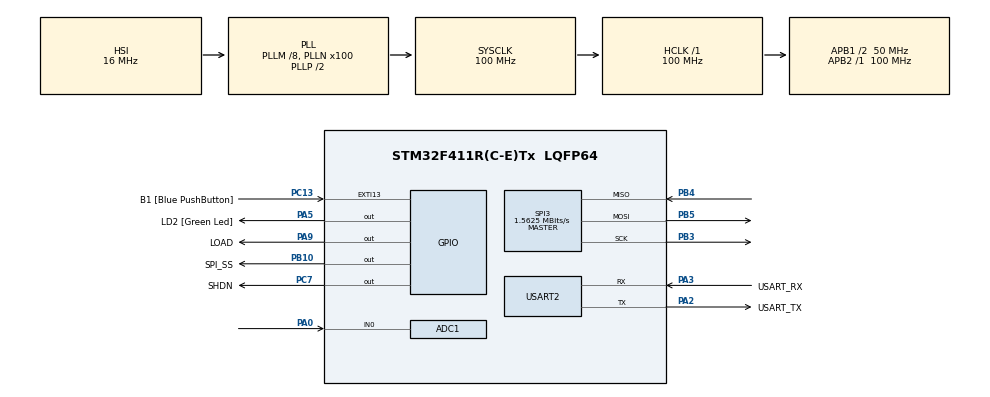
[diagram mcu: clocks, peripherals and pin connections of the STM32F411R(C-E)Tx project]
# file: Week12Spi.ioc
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Mcu.Family=STM32F4
PB10.PinState=GPIO_PIN_SET
RCC.CortexFreq_Value=100000000
SPI3.Direction=SPI_DIRECTION_2LINES
SPI3.VirtualType=VM_MASTER
ADC1.ContinuousConvMode=DISABLE
PA14.GPIO_Label=TCK
RCC.SYSCLKSource=RCC_SYSCLKSOURCE_PLLCLK
ProjectManager.StackSize=0x400
NVIC.ADC_IRQn=true\:0\:0\:false\:false\:true\:true\:true
PH0\ -\ OSC_IN.Signal=RCC_OSC_IN
RCC.HCLKFreq_Value=100000000
RCC.APB2TimFreq_Value=100000000
TIM3.Period=100
Dma.ADC1.0.Direction=DMA_PERIPH_TO_MEMORY
PC7.Signal=GPIO_Output
NVIC.DMA2_Stream0_IRQn=true\:0\:0\:false\:false\:true\:false\:true
Dma.ADC1.0.MemDataAlignment=DMA_MDATAALIGN_HALFWORD
RCC.AHBFreq_Value=100000000
SPI3.DataSize=SPI_DATASIZE_16BIT
ADC1.Channel-0\#ChannelRegularConversion=ADC_CHANNEL_0
NVIC.TIM1_TRG_COM_TIM11_IRQn=true\:0\:0\:false\:false\:true\:true\:true
RCC.HSE_VALUE=8000000
PB3.Mode=Full_Duplex_Master
ADC1.ScanConvMode=ENABLE
PC13-ANTI_TAMP.Signal=GPXTI13
PB4.Mode=Full_Duplex_Master
PC14-OSC32_IN.Mode=LSE-External-Oscillator
PA14.Mode=Serial_Wire
TIM3.Prescaler=99
Dma.ADC1.0.PeriphInc=DMA_PINC_DISABLE
PB5.Mode=Full_Duplex_Master
PC7.PinState=GPIO_PIN_SET
SH.ADCx_IN0.0=ADC1_IN0,IN0
ADC1.SamplingTime-0\#ChannelRegularConversion=ADC_SAMPLETIME_3CYCLES
RCC.FLatency-AdvancedSettings=FLASH_LATENCY_3
Mcu.Package=LQFP64
SPI3.Mode=SPI_MODE_MASTER
USART2.VirtualMode=VM_ASYNC
PA2.GPIO_Label=USART_TX
NVIC.SPI3_IRQn=true\:0\:0\:false\:false\:true\:true\:true
RCC.APB1TimFreq_Value=100000000
Dma.ADC1.0.FIFOMode=DMA_FIFOMODE_DISABLE
Dma.Request0=ADC1
ADC1.EOCSelection=ADC_EOC_SEQ_CONV
VP_TIM3_VS_ClockSourceINT.Mode=Internal
PB4.Signal=SPI3_MISO
PA3.Signal=USART2_RX
PC15-OSC32_OUT.Mode=LSE-External-Oscillator
Dma.ADC1.0.Instance=DMA2_Stream0
ADC1.Rank-0\#ChannelRegularConversion=1
PC13-ANTI_TAMP.GPIO_Label=B1 [Blue PushButton]
PA9.GPIO_Label=LOAD
PH1\ -\ OSC_OUT.Mode=HSE-External-Clock-Source
ADC1.DiscontinuousConvMode=DISABLE
TIM11.Prescaler=99
RCC.APB1CLKDivider=RCC_HCLK_DIV2
PC14-OSC32_IN.Signal=RCC_OSC32_IN
NVIC.USART2_IRQn=true\:0\:0\:false\:false\:true\:true\:true
PA0-WKUP.Signal=ADCx_IN0
VP_TIM11_VS_ClockSourceINT.Mode=Enable_Timer
PA13.Signal=SYS_JTMS-SWDIO
PA3.Mode=Asynchronous
Dma.ADC1.0.PeriphDataAlignment=DMA_PDATAALIGN_HALFWORD
PH0\ -\ OSC_IN.Mode=HSE-External-Clock-Source
ProjectManager.TargetToolchain=STM32CubeIDE
PB10.GPIO_Label=SPI_SS
Dma.ADC1.0.Mode=DMA_CIRCULAR
Dma.ADC1.0.Priority=DMA_PRIORITY_LOW
PA9.Signal=GPIO_Output
PA9.PinState=GPIO_PIN_SET
PC15-OSC32_OUT.Signal=RCC_OSC32_OUT
PB10.Signal=GPIO_Output
PA5.Signal=GPIO_Output
PH1\ -\ OSC_OUT.Signal=RCC_OSC_OUT
board=NUCLEO-F411RE
RCC.VCOOutputFreq_Value=200000000
RCC.APB2Freq_Value=100000000
SPI3.CalculateBaudRate=1.5625 MBits/s
SPI3.BaudRatePrescaler=SPI_BAUDRATEPRESCALER_32
ADC1.DMAContinuousRequests=ENABLE
PA13.Mode=Serial_Wire
Mcu.Name=STM32F411R(C-E)Tx
PA2.Signal=USART2_TX
PA13.GPIO_Label=TMS
ADC1.ExternalTrigConv=ADC_EXTERNALTRIGCONV_T3_TRGO
PC7.GPIO_Label=SHDN
RCC.48MHZClocksFreq_Value=50000000
PB3.Signal=SPI3_SCK
RCC.SYSCLKFreq_VALUE=100000000
PB5.Signal=SPI3_MOSI
ADC1.master=1
PA5.GPIO_Label=LD2 [Green Led]
PC13-ANTI_TAMP.GPIO_ModeDefaultEXTI=GPIO_MODE_IT_FALLING
PA14.Signal=SYS_JTCK-SWCLK
Dma.ADC1.0.MemInc=DMA_MINC_ENABLE
ProjectManager.HeapSize=0x200
RCC.HSI_VALUE=16000000
NVIC.PriorityGroup=NVIC_PRIORITYGROUP_0
ADC1.NbrOfConversionFlag=1
RCC.PLLM=8
RCC.PLLN=100
PA2.Mode=Asynchronous
TIM3.TIM_MasterOutputTrigger=TIM_TRGO_UPDATE
RCC.APB1Freq_Value=50000000
PA3.GPIO_Label=USART_RX

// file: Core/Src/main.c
/* USER CODE BEGIN Header */
/**
 ******************************************************************************
 * @file           : main.c
 * @brief          : Main program body
 ******************************************************************************
 * @attention
 *
 * <h2><center>&copy; Copyright (c) 2021 STMicroelectronics.
 * All rights reserved.</center></h2>
 *
 * This software component is licensed by ST under BSD 3-Clause license,
 * the "License"; You may not use this file except in compliance with the
 * License. You may obtain a copy of the License at:
 *                        opensource.org/licenses/BSD-3-Clause
 *
 ******************************************************************************
 */
/* USER CODE END Header */
#include "main.h"

/* USER CODE BEGIN Includes */
#include "math.h"
#include <stdio.h>
#include <string.h>
/* USER CODE END Includes */

ADC_HandleTypeDef hadc1;
DMA_HandleTypeDef hdma_adc1;

SPI_HandleTypeDef hspi3;

TIM_HandleTypeDef htim3;
TIM_HandleTypeDef htim11;

UART_HandleTypeDef huart2;

/* USER CODE BEGIN PV */
char TxDataBuffer[32] =
{ 0 };
char RxDataBuffer[32] =
{ 0 };
char now_freq[32] =
{ 0 };
char now_vhigh[32] =
{ 0 };
char now_vlow[32] =
{ 0 };
char now_Duty[32] =
{ 0 };
uint16_t ADCin = 0;
uint16_t V_ADC_high = 0;
uint16_t V_ADC_low = 0;
int16_t A=0;
float time=0;
uint64_t _micro = 0;
int mode =0; //set sawtooth as default
// 12 bits dac
uint16_t dataOut = 0;
//float volt;
//upper 4 bits of dac
uint8_t DACConfig = 0b0011;
float freq =1.0;
float v_high =3.3;
float v_low =0.0;
float T=0; //Period
float angle=0.0;
int Duty_Cycle =50;

int is_saw_reverse =0;
/* USER CODE END PV */

void SystemClock_Config(void);
static void MX_GPIO_Init(void);
static void MX_DMA_Init(void);
static void MX_USART2_UART_Init(void);
static void MX_SPI3_Init(void);
static void MX_ADC1_Init(void);
static void MX_TIM3_Init(void);
static void MX_TIM11_Init(void);
/* USER CODE BEGIN PFP */
void MCP4922SetOutput(uint8_t Config, uint16_t DACOutput);
uint64_t micros();
void UARTRecieveAndResponsePolling();
int16_t UARTRecieveIT();
enum _StateDisplay
{
  StateDisplay_Start = 0,
  StateDisplay_MenuRoot_Print =10,
  StateDisplay_MenuRoot_WaitInput,
  StateDisplay_Saw_Print =20,
  StateDisplay_Saw_WaitInput,
  StateDisplay_Sine_Print =30,
  StateDisplay_Sine_WaitInput,
  StateDisplay_Square_Print =40,
  StateDisplay_Square_WaitInput

};
uint8_t STATE_Display = 0;

int count =1;
uint8_t Is_LED_on =1;
int LED_TOGGLE_DELAY =500;
int is_press =0;
float Duty_On =0.0;
/* USER CODE END PFP */

int main(void)
{

  /* MCU Configuration--------------------------------------------------------*/

  /* Reset of all peripherals, Initializes the Flash interface and the Systick. */
  HAL_Init();

  /* Configure the system clock */
  SystemClock_Config();

  /* Initialize all configured peripherals */
  MX_GPIO_Init();
  MX_DMA_Init();
  MX_USART2_UART_Init();
  MX_SPI3_Init();
  MX_ADC1_Init();
  MX_TIM3_Init();
  MX_TIM11_Init();
  /* USER CODE BEGIN 2 */
	HAL_TIM_Base_Start(&htim3);
	HAL_TIM_Base_Start_IT(&htim11);
	HAL_ADC_Start_DMA(&hadc1, (uint32_t*) &ADCin, 1); // read ADC in

	HAL_GPIO_WritePin(LOAD_GPIO_Port, LOAD_Pin, GPIO_PIN_RESET);//set low ไว้
	  {
	  char temp[]="HELLO WORLD\r\n please type something to test UART\r\n";
	  HAL_UART_Transmit(&huart2, (uint8_t*)temp, strlen(temp),10);
	  }
  /* USER CODE END 2 */

  /* Infinite loop */
  /* USER CODE BEGIN WHILE */
	while (1)
	{

		static uint64_t timestamp = 0;
		if (micros() - timestamp > 10000) //10khz = 100 Microsec
		{
			timestamp = micros();
			V_ADC_high = v_high *4096/3.3;
			V_ADC_low = v_low *4096/3.3;
			A = V_ADC_high - V_ADC_low;
			if(mode==0)
			{
				//V_ADC_high = v_high *4096/3.3;
				//V_ADC_low = v_low *4096/3.3;
				time += 0.01;
				T = 1/freq;
				//A = V_ADC_high - V_ADC_low;
				if(is_saw_reverse ==0)
				{
					//dataOut++; //input get into black DAC
					if (time < T)
					{
//						A = V_ADC_high - V_ADC_low;
						dataOut = ((A)/T)*time+V_ADC_low;
					}
					else
					{
						time =0;
					}
				}
				//dataOut++; //input get in black DAC
				else if(is_saw_reverse ==1)
				{
					//dataOut--; //input get into black DAC
					if (time <= T)
					{
						dataOut = ((-A)/T)*time+V_ADC_high;
					}
					else
					{
						time =0;
					}
				}
				//dataOut %= 4096; //sawtooth
			}
			else if(mode==1)
			{
				angle +=0.01;//radian
				dataOut =((A/2)* sin(2.0*M_PI*freq*angle))+((V_ADC_high+V_ADC_low)/2);
			}
			else if(mode==2)
			{
				time += 0.01;
				T = 1/freq;
				Duty_On = T*Duty_Cycle/100;
				if(time <= Duty_On)
				{
					dataOut = V_ADC_high;
				}
				else if(time > Duty_On && time <= T)
				{
					dataOut = V_ADC_low;
				}
				else
				{
					time = 0.0;
				}
			}

			if (hspi3.State == HAL_SPI_STATE_READY // if not send data
					&& HAL_GPIO_ReadPin(SPI_SS_GPIO_Port, SPI_SS_Pin)
							== GPIO_PIN_SET)
			{
				MCP4922SetOutput(DACConfig, dataOut);//dataOut to digital
				// analog get in nucleo to adc
			}
			//volt = (ADCin/4095.0) *3.3;// sawtooth
		}
		/*Method 2 Interrupt Mode*/
		HAL_UART_Receive_IT(&huart2,  (uint8_t*)RxDataBuffer, 32);

		/*Method 2 W/ 1 Char Received*/
		int16_t inputchar = UARTRecieveIT();
		if(inputchar!=-1)
		{

			sprintf(TxDataBuffer, "ReceivedChar:[%c]\r\n", inputchar);
			HAL_UART_Transmit(&huart2, (uint8_t*)TxDataBuffer, strlen(TxDataBuffer), 1000);

		}
		switch (STATE_Display)
		{
			case StateDisplay_Start:
				STATE_Display = StateDisplay_MenuRoot_Print;
				break;
			case StateDisplay_MenuRoot_Print: //display one time state
				yemp();
				STATE_Display = StateDisplay_MenuRoot_WaitInput;
				break;
			case StateDisplay_MenuRoot_WaitInput: //wait state for input
				switch (inputchar)
				{
			      case 0:
			        //no input ; just wait input
			        break;
			      case -1:
			        //no input ; just wait input
			        break;
			      case '0':
			        STATE_Display = StateDisplay_Saw_Print; // sawtooth
			        break;
			      case '1':
			        STATE_Display = StateDisplay_Sine_Print; //sine wave
			        break;
			      case '2':
			        STATE_Display = StateDisplay_Square_Print; //square wave
			        break;
			      default: // actually error , you can add error message
			        wng_press();
			        STATE_Display = StateDisplay_MenuRoot_Print;
			        break;
				}
				break;
			case StateDisplay_Saw_Print: //display one time state //saw
				mode =0;
				sawt_msg();
				STATE_Display = StateDisplay_Saw_WaitInput;
				break;
			case StateDisplay_Sine_Print: //display state
				mode=1;
				sinet_msg();
			    STATE_Display = StateDisplay_Sine_WaitInput;
			    break;

			case StateDisplay_Sine_WaitInput: //make decision state
			    switch (inputchar)
			    {
			    	case 0:
			    		//no input ; just wait input
			    		break;
			    	case -1:
			    		//no input ; just wait input
			    	    break;
				    case '+': //+0.1Hz
				    	if(freq < 10)
				    	{
				    		freq +=0.1;
				    	}
				    	else
				    	{
				    		limit_msg();
				    	}
				    	freq_msg();
				    	STATE_Display = StateDisplay_Sine_Print;
				    	break;
				      case '-': // -0.1Hz
				    	  if(freq > 0.1)
				    	  {
				    		  freq -=0.1;
				    	  }
				    	  else
				    	  {
				    		  freq =0;
				    		  limit_msg();
				    	  }
				    	  freq_msg();
				    	  STATE_Display = StateDisplay_Sine_Print;
				    	  break;
				      case 'h': //v high+0.1V
				    	  if(v_high+0.02 < 3.3)
				      	  {
				    		  v_high +=0.1;
				      	  }
				    	  else
				    	  {
				    		  limit_msg();
				    	  }
				    	  vhigh_msg();
				      	  STATE_Display = StateDisplay_Sine_Print;
				      	  break;
				      case 'j': //v high -0.1V
				    	  if(v_high-0.02 > v_low)
				    	  {
				    		  v_high -=0.1;
				      	  }
				      	  else
				      	  {
				      		v_high =v_low;
				      		limit_msg();
				      	  }
				    	  vhigh_msg();
				      	  STATE_Display = StateDisplay_Sine_Print;
				      	  break;
				      case 'k': //v low +0.1V
				    	  if(v_high-0.02 > v_low)
				      	  {
				    		  v_low +=0.1;
				      	  }
				    	  else
				    	  {
				    		  limit_msg();
				    	  }
				    	  vlow_msg();
				      	  STATE_Display = StateDisplay_Sine_Print;
				      	  break;
				      case 'l': //v low -0.1V
				    	  if(v_low+0.02 >=0.1)
				    	  {
				    		  v_low -=0.1;
				      	  }
				      	  else
				      	  {
				      		v_low =0.0;
				      		limit_msg();
				      	  }
				    	  vlow_msg();
				      	  STATE_Display = StateDisplay_Sine_Print;
				      	  break;
			    	case 'x': //
			    		STATE_Display = StateDisplay_MenuRoot_Print;
			    		break;
			    	default: // actually error , you can add error message
			    	    wng_press();
			    	    STATE_Display = StateDisplay_Sine_Print;
			    	    break;
			    }
			    break;
			case StateDisplay_Square_Print: //display state
			    mode=2;
			    square_msg();
			    STATE_Display = StateDisplay_Square_WaitInput;
			    break;
			case StateDisplay_Square_WaitInput: //make decision state
			    switch (inputchar)
			    {
			     	case 0:
			     		//no input ; just wait input
			     		break;
			    	case -1:
			    		//no input ; just wait input
			    		break;
			    	case '8': // forward
			    		if(Duty_Cycle+1 <100)
			    		{
			    			Duty_Cycle +=10;
			    		}
			    		else
			    		{
			    			limit_msg();
			    		}
			    		dutyc_msg();
			    		STATE_Display = StateDisplay_Square_Print;
			    		break;
			    	case '2': // backward
			    		if(Duty_Cycle-1 >0)
			    		{
			    			Duty_Cycle -=10;
			    		}
			    		else
			    		{
			    			limit_msg();
			    		}
			    		dutyc_msg();
			    		STATE_Display = StateDisplay_Square_Print;
			    		break;
			    	case '+': //+0.1Hz
			    		if(freq < 10)
			    		{
			    			freq +=0.1;
			    		}
			    		 else
			    		{
			    			 limit_msg();
			    		}
			    		freq_msg();
			    		STATE_Display = StateDisplay_Square_Print;
			    		break;
			    	case '-': // -0.1Hz
			    		if(freq > 0.1)
			    		{
			    			freq -=0.1;
			    		}
			    		else
			    		{
			    			freq =0;
			    			limit_msg();
			    		}
			    		freq_msg();
			    		STATE_Display = StateDisplay_Square_Print;
			    		break;
			    	case 'h': //v high+0.1V
			    		if(v_high+0.02 < 3.3)
			    		{
			    			v_high +=0.1;
			    		}
			    		else
			    		{
			    			limit_msg();
			    		}
			    		vhigh_msg();
			    		STATE_Display = StateDisplay_Square_Print;
			    		break;
			    	case 'j': //v high -0.1V
			    		if(v_high-0.02 > v_low)
			    		{
			    			v_high -=0.1;
			    		}
			    		else
			    		{
			    			v_high =v_low;
			    			limit_msg();
			    		}
			    		vhigh_msg();
			    		STATE_Display = StateDisplay_Square_Print;
			    		break;
			    	case 'k': //v low +0.1V
			    		if(v_high-0.02 > v_low)
			    		{
			    			v_low +=0.1;
			    		}
			    		else
			    		{
			    			limit_msg();
			    		}
			    		vlow_msg();
			    		STATE_Display = StateDisplay_Square_Print;
			    		break;
			    	case 'l': //v low -0.1V
			    		if(v_low+0.02 >=0.1)
			    		{
			    			v_low -=0.1;
			    		}
			    		else
			    		{
			    			v_low =0.0;
			    			limit_msg();
			    		}
			    		vlow_msg();
			    		STATE_Display = StateDisplay_Square_Print;
			    		break;
			    	case 'x': //
			    		STATE_Display = StateDisplay_MenuRoot_Print;
			    		break;
			    	default: // actually error , you can add error message
			    		wng_press();
			    		STATE_Display = StateDisplay_Square_Print;
			    		break;
			    }
			    break;
			case StateDisplay_Saw_WaitInput: //sawtooth
			      switch (inputchar)
			      {
			      case 0:
			        //no input ; just wait input
			        break;
			      case -1:
			    	  //no input ; just wait input
			    	  break;
			      case '+': //+0.1Hz
			    	  if(freq < 10)
			    	  {
			    		  freq +=0.1;
			    	  }
			    	  else
			    	  {
			    		  limit_msg();
			    	  }
			    	  freq_msg();
			    	  STATE_Display = StateDisplay_Saw_Print;
			    	  break;
			      case '-': // -0.1Hz
			    	  if(freq > 0.1)
			    	  {
			    		  freq -=0.1;
			    	  }
			    	  else
			    	  {
			    		  freq =0;
			    		  limit_msg();
			    	  }
			    	  freq_msg();
			    	  STATE_Display = StateDisplay_Saw_Print;
			    	  break;
			      case 'h': //v high+0.1V
			    	  if(v_high+0.02 < 3.3)
			      	  {
			    		  v_high +=0.1;
			      	  }
			    	  else
			    	  {
			    		  limit_msg();
			    	  }
			    	  vhigh_msg();
			      	  STATE_Display = StateDisplay_Saw_Print;
			      	  break;
			      case 'j': //v high -0.1V
			    	  if(v_high-0.02 > v_low)
			    	  {
			    		  v_high -=0.1;
			      	  }
			      	  else
			      	  {
			      		v_high =v_low;
			      		  limit_msg();
			      	  }
			    	  vhigh_msg();
			      	  STATE_Display = StateDisplay_Saw_Print;
			      	  break;
			      case 'k': //v low +0.1V
			    	  if(v_high-0.02 > v_low)
			      	  {
			    		  v_low +=0.1;
			      	  }
			    	  else
			    	  {
			    		  limit_msg();
			    	  }
			    	  vlow_msg();
			      	  STATE_Display = StateDisplay_Saw_Print;
			      	  break;
			      case 'l': //v low -0.1V
			    	  if(v_low+0.02 >=0.1)
			    	  {
			    		  v_low -=0.1;
			      	  }
			      	  else
			      	  {
			      		v_low =0.0;
			      		limit_msg();
			      	  }
			    	  vlow_msg();
			      	  STATE_Display = StateDisplay_Saw_Print;
			      	  break;
			      case '8': // forward
			    	  is_saw_reverse =0;
			    	  STATE_Display = StateDisplay_Saw_Print;
			    	  break;
			      case '2': // backward
			    	  is_saw_reverse =1;
			      	  STATE_Display = StateDisplay_Saw_Print;
			      	  break;
			      case 'x': //
			    	  STATE_Display = StateDisplay_MenuRoot_Print;
			    	  break;

			      default: // actully error , you can add error message
			    	  wng_press();
			    	  STATE_Display = StateDisplay_Saw_Print;
			    	  break;
			      }
			      break;
		}

    /* USER CODE END WHILE */

	}
}

void SystemClock_Config(void)
{
  RCC_OscInitTypeDef RCC_OscInitStruct = {0};
  RCC_ClkInitTypeDef RCC_ClkInitStruct = {0};

  /** Configure the main internal regulator output voltage
  */
  __HAL_RCC_PWR_CLK_ENABLE();
  __HAL_PWR_VOLTAGESCALING_CONFIG(PWR_REGULATOR_VOLTAGE_SCALE1);
  /** Initializes the RCC Oscillators according to the specified parameters
  * in the RCC_OscInitTypeDef structure.
  */
  RCC_OscInitStruct.OscillatorType = RCC_OSCILLATORTYPE_HSI;
  RCC_OscInitStruct.HSIState = RCC_HSI_ON;
  RCC_OscInitStruct.HSICalibrationValue = RCC_HSICALIBRATION_DEFAULT;
  RCC_OscInitStruct.PLL.PLLState = RCC_PLL_ON;
  RCC_OscInitStruct.PLL.PLLSource = RCC_PLLSOURCE_HSI;
  RCC_OscInitStruct.PLL.PLLM = 8;
  RCC_OscInitStruct.PLL.PLLN = 100;
  RCC_OscInitStruct.PLL.PLLP = RCC_PLLP_DIV2;
  RCC_OscInitStruct.PLL.PLLQ = 4;
  if (HAL_RCC_OscConfig(&RCC_OscInitStruct) != HAL_OK)
  {
    Error_Handler();
  }
  /** Initializes the CPU, AHB and APB buses clocks
  */
  RCC_ClkInitStruct.ClockType = RCC_CLOCKTYPE_HCLK|RCC_CLOCKTYPE_SYSCLK
                              |RCC_CLOCKTYPE_PCLK1|RCC_CLOCKTYPE_PCLK2;
  RCC_ClkInitStruct.SYSCLKSource = RCC_SYSCLKSOURCE_PLLCLK;
  RCC_ClkInitStruct.AHBCLKDivider = RCC_SYSCLK_DIV1;
  RCC_ClkInitStruct.APB1CLKDivider = RCC_HCLK_DIV2;
  RCC_ClkInitStruct.APB2CLKDivider = RCC_HCLK_DIV1;

  if (HAL_RCC_ClockConfig(&RCC_ClkInitStruct, FLASH_LATENCY_3) != HAL_OK)
  {
    Error_Handler();
  }
}

static void MX_ADC1_Init(void)
{

  ADC_ChannelConfTypeDef sConfig = {0};

  /** Configure the global features of the ADC (Clock, Resolution, Data Alignment and number of conversion)
  */
  hadc1.Instance = ADC1;
  hadc1.Init.ClockPrescaler = ADC_CLOCK_SYNC_PCLK_DIV4;
  hadc1.Init.Resolution = ADC_RESOLUTION_12B;
  hadc1.Init.ScanConvMode = ENABLE;
  hadc1.Init.ContinuousConvMode = DISABLE;
  hadc1.Init.DiscontinuousConvMode = DISABLE;
  hadc1.Init.ExternalTrigConvEdge = ADC_EXTERNALTRIGCONVEDGE_RISING;
  hadc1.Init.ExternalTrigConv = ADC_EXTERNALTRIGCONV_T3_TRGO;
  hadc1.Init.DataAlign = ADC_DATAALIGN_RIGHT;
  hadc1.Init.NbrOfConversion = 1;
  hadc1.Init.DMAContinuousRequests = ENABLE;
  hadc1.Init.EOCSelection = ADC_EOC_SEQ_CONV;
  if (HAL_ADC_Init(&hadc1) != HAL_OK)
  {
    Error_Handler();
  }
  /** Configure for the selected ADC regular channel its corresponding rank in the sequencer and its sample time.
  */
  sConfig.Channel = ADC_CHANNEL_0;
  sConfig.Rank = 1;
  sConfig.SamplingTime = ADC_SAMPLETIME_3CYCLES;
  if (HAL_ADC_ConfigChannel(&hadc1, &sConfig) != HAL_OK)
  {
    Error_Handler();
  }

}

static void MX_SPI3_Init(void)
{

  /* SPI3 parameter configuration*/
  hspi3.Instance = SPI3;
  hspi3.Init.Mode = SPI_MODE_MASTER;
  hspi3.Init.Direction = SPI_DIRECTION_2LINES;
  hspi3.Init.DataSize = SPI_DATASIZE_16BIT;
  hspi3.Init.CLKPolarity = SPI_POLARITY_LOW;
  hspi3.Init.CLKPhase = SPI_PHASE_1EDGE;
  hspi3.Init.NSS = SPI_NSS_SOFT;
  hspi3.Init.BaudRatePrescaler = SPI_BAUDRATEPRESCALER_32;
  hspi3.Init.FirstBit = SPI_FIRSTBIT_MSB;
  hspi3.Init.TIMode = SPI_TIMODE_DISABLE;
  hspi3.Init.CRCCalculation = SPI_CRCCALCULATION_DISABLE;
  hspi3.Init.CRCPolynomial = 10;
  if (HAL_SPI_Init(&hspi3) != HAL_OK)
  {
    Error_Handler();
  }

}

static void MX_TIM3_Init(void)
{

  TIM_ClockConfigTypeDef sClockSourceConfig = {0};
  TIM_MasterConfigTypeDef sMasterConfig = {0};

  htim3.Instance = TIM3;
  htim3.Init.Prescaler = 99;
  htim3.Init.CounterMode = TIM_COUNTERMODE_UP;
  htim3.Init.Period = 100;
  htim3.Init.ClockDivision = TIM_CLOCKDIVISION_DIV1;
  htim3.Init.AutoReloadPreload = TIM_AUTORELOAD_PRELOAD_DISABLE;
  if (HAL_TIM_Base_Init(&htim3) != HAL_OK)
  {
    Error_Handler();
  }
  sClockSourceConfig.ClockSource = TIM_CLOCKSOURCE_INTERNAL;
  if (HAL_TIM_ConfigClockSource(&htim3, &sClockSourceConfig) != HAL_OK)
  {
    Error_Handler();
  }
  sMasterConfig.MasterOutputTrigger = TIM_TRGO_UPDATE;
  sMasterConfig.MasterSlaveMode = TIM_MASTERSLAVEMODE_DISABLE;
  if (HAL_TIMEx_MasterConfigSynchronization(&htim3, &sMasterConfig) != HAL_OK)
  {
    Error_Handler();
  }

}

static void MX_TIM11_Init(void)
{

  htim11.Instance = TIM11;
  htim11.Init.Prescaler = 99;
  htim11.Init.CounterMode = TIM_COUNTERMODE_UP;
  htim11.Init.Period = 65535;
  htim11.Init.ClockDivision = TIM_CLOCKDIVISION_DIV1;
  htim11.Init.AutoReloadPreload = TIM_AUTORELOAD_PRELOAD_DISABLE;
  if (HAL_TIM_Base_Init(&htim11) != HAL_OK)
  {
    Error_Handler();
  }

}

static void MX_USART2_UART_Init(void)
{

  huart2.Instance = USART2;
  huart2.Init.BaudRate = 115200;
  huart2.Init.WordLength = UART_WORDLENGTH_8B;
  huart2.Init.StopBits = UART_STOPBITS_1;
  huart2.Init.Parity = UART_PARITY_NONE;
  huart2.Init.Mode = UART_MODE_TX_RX;
  huart2.Init.HwFlowCtl = UART_HWCONTROL_NONE;
  huart2.Init.OverSampling = UART_OVERSAMPLING_16;
  if (HAL_UART_Init(&huart2) != HAL_OK)
  {
    Error_Handler();
  }

}

static void MX_DMA_Init(void)
{

  /* DMA controller clock enable */
  __HAL_RCC_DMA2_CLK_ENABLE();

  /* DMA interrupt init */
  /* DMA2_Stream0_IRQn interrupt configuration */
  HAL_NVIC_SetPriority(DMA2_Stream0_IRQn, 0, 0);
  HAL_NVIC_EnableIRQ(DMA2_Stream0_IRQn);

}

static void MX_GPIO_Init(void)
{
  GPIO_InitTypeDef GPIO_InitStruct = {0};

  /* GPIO Ports Clock Enable */
  __HAL_RCC_GPIOC_CLK_ENABLE();
  __HAL_RCC_GPIOH_CLK_ENABLE();
  __HAL_RCC_GPIOA_CLK_ENABLE();
  __HAL_RCC_GPIOB_CLK_ENABLE();

  /*Configure GPIO pin Output Level */
  HAL_GPIO_WritePin(LD2_GPIO_Port, LD2_Pin, GPIO_PIN_RESET);

  /*Configure GPIO pin Output Level */
  HAL_GPIO_WritePin(SPI_SS_GPIO_Port, SPI_SS_Pin, GPIO_PIN_SET);

  /*Configure GPIO pin Output Level */
  HAL_GPIO_WritePin(SHDN_GPIO_Port, SHDN_Pin, GPIO_PIN_SET);

  /*Configure GPIO pin Output Level */
  HAL_GPIO_WritePin(LOAD_GPIO_Port, LOAD_Pin, GPIO_PIN_SET);

  /*Configure GPIO pin : B1_Pin */
  GPIO_InitStruct.Pin = B1_Pin;
  GPIO_InitStruct.Mode = GPIO_MODE_IT_FALLING;
  GPIO_InitStruct.Pull = GPIO_NOPULL;
  HAL_GPIO_Init(B1_GPIO_Port, &GPIO_InitStruct);

  /*Configure GPIO pins : LD2_Pin LOAD_Pin */
  GPIO_InitStruct.Pin = LD2_Pin|LOAD_Pin;
  GPIO_InitStruct.Mode = GPIO_MODE_OUTPUT_PP;
  GPIO_InitStruct.Pull = GPIO_NOPULL;
  GPIO_InitStruct.Speed = GPIO_SPEED_FREQ_LOW;
  HAL_GPIO_Init(GPIOA, &GPIO_InitStruct);

  /*Configure GPIO pin : SPI_SS_Pin */
  GPIO_InitStruct.Pin = SPI_SS_Pin;
  GPIO_InitStruct.Mode = GPIO_MODE_OUTPUT_PP;
  GPIO_InitStruct.Pull = GPIO_NOPULL;
  GPIO_InitStruct.Speed = GPIO_SPEED_FREQ_LOW;
  HAL_GPIO_Init(SPI_SS_GPIO_Port, &GPIO_InitStruct);

  /*Configure GPIO pin : SHDN_Pin */
  GPIO_InitStruct.Pin = SHDN_Pin;
  GPIO_InitStruct.Mode = GPIO_MODE_OUTPUT_PP;
  GPIO_InitStruct.Pull = GPIO_NOPULL;
  GPIO_InitStruct.Speed = GPIO_SPEED_FREQ_LOW;
  HAL_GPIO_Init(SHDN_GPIO_Port, &GPIO_InitStruct);

}

/* USER CODE BEGIN 4 */
void MCP4922SetOutput(uint8_t Config, uint16_t DACOutput)
{
	uint32_t OutputPacket = (DACOutput & 0x0fff) | ((Config & 0xf) << 12);
	HAL_GPIO_WritePin(SPI_SS_GPIO_Port, SPI_SS_Pin, GPIO_PIN_RESET);
	HAL_SPI_Transmit_IT(&hspi3, &OutputPacket, 1); // interrupt send data
	//HAL_SPI_Receive_IT(hspi, pData, Size) //receive data
}
void UARTRecieveAndResponsePolling()
{
	char Recieve[32]={0};
	//start Receive in Polling mode
	HAL_UART_Receive(&huart2, (uint8_t*)Recieve, 32, 1000);
	//Create feedback text
	sprintf(TxDataBuffer, "Received:[%s]\r\n", Recieve);
	//send text
	HAL_UART_Transmit(&huart2, (uint8_t*)TxDataBuffer, strlen(TxDataBuffer), 1000);

}

void yemp()
{
	char yemp[]= "Menu\r\n press 0 for sawtooth \r\n press 1 for sinewave\r\n press 2 for square\r\n ";
	HAL_UART_Transmit(&huart2, (uint8_t*)yemp, strlen(yemp),30);
}
void wng_press()
{
	char emp[]= "error please press the correct key\r\n ";
	HAL_UART_Transmit(&huart2, (uint8_t*)emp, strlen(emp),10);
}
void LED_msg()
{
	char lemp[]= "a: speed +1 Hz\r\n s: speed -1 Hz\r\n d: On/Off \r\n x: back \r\n ";
	HAL_UART_Transmit(&huart2, (uint8_t*)lemp, strlen(lemp),30);
}
void freq_msg()
{
	sprintf(now_freq, "frequency is at : [%.1f] Hz \r\n", freq);
	HAL_UART_Transmit(&huart2, (uint8_t*)now_freq, strlen(now_freq), 30);
}
void vhigh_msg()
{
	sprintf(now_vhigh, "V high at : [%.1f] V \r\n", v_high);
	HAL_UART_Transmit(&huart2, (uint8_t*)now_vhigh, strlen(now_vhigh), 30);
}
void vlow_msg()
{
	sprintf(now_vlow, "V low at : [%.1f] V \r\n", v_low);
	HAL_UART_Transmit(&huart2, (uint8_t*)now_vlow, strlen(now_vlow), 30);
}
void dutyc_msg()
{
	sprintf(now_Duty, "Duty Cycle at [%d] percent \r\n", Duty_Cycle);
	HAL_UART_Transmit(&huart2, (uint8_t*)now_Duty, strlen(now_Duty), 30);
}
void sawt_msg()
{
	char lsaemp[]= "This is sawtooth\r\n +: speed +0.1 Hz	-: speed -0.1 Hz\r\n h: v high +0.1V 	j: v high -0.1V \r\n k: v low +0.1V		l: v low -0.1V \r\n 8: slope up 		2: slope down\r\n x: back \r\n ";
	HAL_UART_Transmit(&huart2, (uint8_t*)lsaemp, strlen(lsaemp),40);
}
void sinet_msg()
{
	char simp[]= "This is sine wave\r\n +: speed +0.1 Hz	-: speed -0.1 Hz\r\n h: v high +0.1V 	j: v high -0.1V \r\n k: v low +0.1V		l: v low -0.1V x: back \r\n ";
	HAL_UART_Transmit(&huart2, (uint8_t*)simp, strlen(simp),40);
}
void square_msg()
{
	char sqimp[]= "This is square wave\r\n +: speed +0.1 Hz	-: speed -0.1 Hz\r\n h: v high +0.1V 	j: v high -0.1V \r\n k: v low +0.1V		l: v low -0.1V \r\n 8: +10% dutycycle 	2: -10% dutycycle\r\n x: back \r\n ";
	HAL_UART_Transmit(&huart2, (uint8_t*)sqimp, strlen(sqimp),40);
}
void limit_msg()
{
	char limitemp[]= "at limit \r\n ";
	HAL_UART_Transmit(&huart2, (uint8_t*)limitemp, strlen(limitemp),10);
}

int16_t UARTRecieveIT()
{
	//stored data last position
	static uint32_t dataPos =0;
	//create dummy data
	int16_t data=-1;
	//check pos in data vs last position
	if(huart2.RxXferSize - huart2.RxXferCount!=dataPos)
	{
		//read data to buffer
		data=RxDataBuffer[dataPos];
		//move to next pos
		dataPos= (dataPos+1)%huart2.RxXferSize;
	}
	return data;
}

void HAL_UART_RxCpltCallback(UART_HandleTypeDef *huart)
{
	//sprintf(TxDataBuffer, "Received:[%s]\r\n", RxDataBuffer);
	HAL_UART_Transmit(&huart2, (uint8_t*)TxDataBuffer, strlen(TxDataBuffer), 1000);  // or  HAL_UART_TransmitIT(&huart2, (uint8_t*)TxDataBuffer, strlen(TxDataBuffer));
}
void HAL_SPI_TxCpltCallback(SPI_HandleTypeDef *hspi)
{
	if (hspi == &hspi3)
	{
		HAL_GPIO_WritePin(SPI_SS_GPIO_Port, SPI_SS_Pin, GPIO_PIN_SET);
	}
}

void HAL_TIM_PeriodElapsedCallback(TIM_HandleTypeDef *htim)
{
	if (htim == &htim11)
	{
		_micro += 65535;
	}
}

inline uint64_t micros()
{
	return htim11.Instance->CNT + _micro;
}
/* USER CODE END 4 */

void Error_Handler(void)
{
	__disable_irq();
	while (1)
	{
	}
}

/************************ (C) COPYRIGHT STMicroelectronics *****END OF FILE****/
